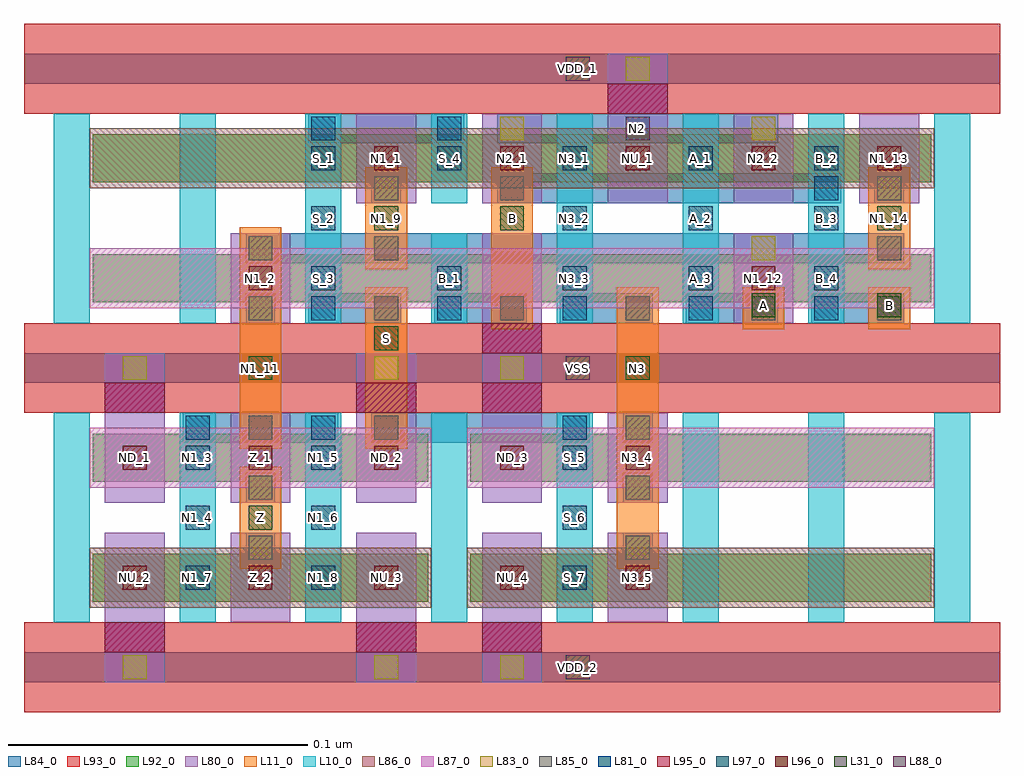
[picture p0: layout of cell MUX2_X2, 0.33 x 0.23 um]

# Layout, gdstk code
import gdstk
lib = gdstk.Library(unit=1e-6, precision=1e-09)
def R(c, l, rs):  # rectangles x0, y0, x1, y1
    for r in rs: c.add(gdstk.rectangle(r[:2], r[2:], *l))
def A(c, l, x, y, w, h, nx, ny, dx, dy):  # array of equal rectangles
    R(c, l, [(x+i*dx, y+j*dy, x+i*dx+w, y+j*dy+h) for i in range(nx) for j in range(ny)])
L10_0 = (10, 0)
L11_0 = (11, 0)
L31_0 = (31, 0)
L80_0 = (80, 0)
L81_0 = (81, 0)
L83_0 = (83, 0)
L84_0 = (84, 0)
L85_0 = (85, 0)
L86_0 = (86, 0)
L87_0 = (87, 0)
L88_0 = (88, 0)
L92_0 = (92, 0)
L93_0 = (93, 0)
L95_0 = (95, 0)
L96_0 = (96, 0)
L97_0 = (97, 0)

mux2_x2 = lib.new_cell('MUX2_X2')
A(mux2_x2, L10_0, -0.027, -0.085, 0.012, 0.07, 8, 1, 0.042, 0)
A(mux2_x2, L10_0, -0.027, 0.015, 0.012, 0.07, 3, 1, 0.042, 0)
A(mux2_x2, L10_0, 0.141, 0.015, 0.012, 0.07, 4, 1, 0.042, 0)
R(mux2_x2, L10_0, [(0.099,0.015,0.111,0.045), (0.099,0.015,0.111,0.045), (0.099,0.055,0.111,0.085)])
R(mux2_x2, L11_0, [(0.035,-0.067,0.049,-0.033), (0.035,-0.067,0.049,-0.033), (0.161,-0.067,0.175,-0.033), (0.161,-0.067,0.175,-0.033), (0.161,-0.047,0.175,-0.013), (0.161,-0.047,0.175,-0.013), (0.035,-0.027,0.049,0.007), (0.035,-0.027,0.049,0.007), (0.077,-0.027,0.091,0.007), (0.077,-0.027,0.091,0.007), (0.161,-0.027,0.175,0.007), (0.161,-0.027,0.175,0.007), (0.035,-0.007,0.049,0.027), (0.035,-0.007,0.049,0.027), (0.077,-0.007,0.091,0.027), (0.077,-0.007,0.091,0.027), (0.161,-0.007,0.175,0.027), (0.161,-0.007,0.175,0.027), (0.035,0.013,0.049,0.047), (0.035,0.013,0.049,0.047), (0.119,0.013,0.133,0.047), (0.119,0.013,0.133,0.047), (0.203,0.013,0.217,0.027), (0.245,0.013,0.259,0.027), (0.077,0.033,0.091,0.067), (0.077,0.033,0.091,0.067), (0.119,0.033,0.133,0.067), (0.119,0.033,0.133,0.067), (0.245,0.033,0.259,0.067), (0.245,0.033,0.259,0.067)])
R(mux2_x2, L31_0, [(0.038,-0.054,0.046,-0.046), (0.038,-0.004,0.046,0.004), (0.164,-0.004,0.172,0.004), (0.08,0.006,0.088,0.014), (0.206,0.017,0.214,0.025), (0.248,0.017,0.256,0.025), (0.08,0.046,0.088,0.054), (0.122,0.046,0.13,0.054), (0.248,0.046,0.256,0.054)])
A(mux2_x2, L80_0, -0.01, -0.085, 0.02, 0.03, 5, 2, 0.042, 0.04)
A(mux2_x2, L80_0, 0.032, 0.015, 0.02, 0.03, 3, 1, 0.084, 0)
A(mux2_x2, L80_0, 0.074, 0.055, 0.02, 0.03, 5, 1, 0.042, 0)
R(mux2_x2, L80_0, [(-0.01,-0.105,0.01,-0.075), (0.074,-0.105,0.094,-0.075), (0.116,-0.105,0.136,-0.075), (-0.01,-0.025,0.01,0.005), (0.074,-0.025,0.094,0.005), (0.116,-0.025,0.136,0.005), (0.116,-0.005,0.136,0.025), (0.158,0.075,0.178,0.105)])
A(mux2_x2, L81_0, 0.143, 0.016, 0.008, 0.008, 3, 1, 0.042, 0)
R(mux2_x2, L81_0, [(0.017,-0.024,0.025,-0.016), (0.017,-0.024,0.025,-0.016), (0.059,-0.024,0.067,-0.016), (0.059,-0.024,0.067,-0.016), (0.143,-0.024,0.151,-0.016), (0.143,-0.024,0.151,-0.016), (0.059,0.016,0.067,0.024), (0.059,0.016,0.067,0.024), (0.101,0.016,0.109,0.024), (0.101,0.016,0.109,0.024), (0.143,0.016,0.151,0.024), (0.227,0.056,0.235,0.064), (0.227,0.056,0.235,0.064), (0.227,0.056,0.235,0.064), (0.227,0.056,0.235,0.064), (0.059,0.076,0.067,0.084), (0.059,0.076,0.067,0.084), (0.059,0.076,0.067,0.084), (0.059,0.076,0.067,0.084), (0.101,0.076,0.109,0.084), (0.101,0.076,0.109,0.084), (0.101,0.076,0.109,0.084), (0.101,0.076,0.109,0.084)])
R(mux2_x2, L83_0, [(-0.004,-0.104,0.004,-0.096), (0.08,-0.104,0.088,-0.096), (0.122,-0.104,0.13,-0.096), (0.038,-0.064,0.046,-0.056), (0.038,-0.064,0.046,-0.056), (0.164,-0.064,0.172,-0.056), (0.164,-0.064,0.172,-0.056), (0.038,-0.044,0.046,-0.036), (0.038,-0.044,0.046,-0.036), (0.164,-0.044,0.172,-0.036), (0.164,-0.044,0.172,-0.036), (0.164,-0.024,0.172,-0.016), (0.164,-0.024,0.172,-0.016), (-0.004,-0.004,0.004,0.004), (0.08,-0.004,0.088,0.004), (0.08,-0.004,0.088,0.004), (0.122,-0.004,0.13,0.004), (0.122,-0.004,0.13,0.004), (0.038,0.016,0.046,0.024), (0.038,0.016,0.046,0.024), (0.038,0.036,0.046,0.044), (0.038,0.036,0.046,0.044), (0.038,0.036,0.046,0.044), (0.038,0.036,0.046,0.044), (0.206,0.036,0.214,0.044), (0.206,0.036,0.214,0.044), (0.206,0.036,0.214,0.044), (0.206,0.036,0.214,0.044), (0.08,0.056,0.088,0.064), (0.08,0.056,0.088,0.064), (0.08,0.056,0.088,0.064), (0.08,0.056,0.088,0.064), (0.248,0.056,0.256,0.064), (0.248,0.056,0.256,0.064), (0.248,0.056,0.256,0.064), (0.248,0.056,0.256,0.064), (0.122,0.076,0.13,0.084), (0.122,0.076,0.13,0.084), (0.122,0.076,0.13,0.084), (0.122,0.076,0.13,0.084), (0.206,0.076,0.214,0.084), (0.206,0.076,0.214,0.084), (0.206,0.076,0.214,0.084), (0.206,0.076,0.214,0.084), (0.164,0.096,0.172,0.104)])
A(mux2_x2, L84_0, -0.037, -0.105, 0.326, 0.01, 1, 3, 0, 0.1)
A(mux2_x2, L84_0, 0.142, 0.015, 0.031, 0.01, 3, 1, 0.042, 0)
R(mux2_x2, L84_0, [(0.037,-0.065,0.047,-0.055), (0.037,-0.065,0.047,-0.055), (0.163,-0.065,0.173,-0.055), (0.163,-0.065,0.173,-0.055), (0.037,-0.045,0.047,-0.035), (0.037,-0.045,0.047,-0.035), (0.163,-0.045,0.173,-0.035), (0.163,-0.045,0.173,-0.035), (0.016,-0.025,0.047,-0.015), (0.016,-0.025,0.047,-0.015), (0.037,-0.025,0.068,-0.015), (0.037,-0.025,0.068,-0.015), (0.079,-0.025,0.11,-0.015), (0.079,-0.025,0.11,-0.015), (0.1,-0.025,0.131,-0.015), (0.1,-0.025,0.131,-0.015), (0.121,-0.025,0.152,-0.015), (0.121,-0.025,0.152,-0.015), (0.163,-0.025,0.173,-0.015), (0.163,-0.025,0.173,-0.015), (0.037,0.015,0.047,0.025), (0.037,0.015,0.047,0.025), (0.058,0.015,0.089,0.025), (0.058,0.015,0.089,0.025), (0.1,0.015,0.131,0.025), (0.1,0.015,0.131,0.025), (0.142,0.015,0.173,0.025), (0.037,0.035,0.068,0.045), (0.037,0.035,0.068,0.045), (0.058,0.035,0.089,0.045), (0.058,0.035,0.089,0.045), (0.079,0.035,0.11,0.045), (0.079,0.035,0.11,0.045), (0.1,0.035,0.131,0.045), (0.1,0.035,0.131,0.045), (0.121,0.035,0.152,0.045), (0.121,0.035,0.152,0.045), (0.142,0.035,0.173,0.045), (0.142,0.035,0.173,0.045), (0.163,0.035,0.194,0.045), (0.163,0.035,0.194,0.045), (0.184,0.035,0.215,0.045), (0.184,0.035,0.215,0.045), (0.205,0.035,0.236,0.045), (0.205,0.035,0.236,0.045), (0.226,0.035,0.257,0.045), (0.226,0.035,0.257,0.045), (0.079,0.055,0.089,0.065), (0.079,0.055,0.089,0.065), (0.121,0.055,0.152,0.065), (0.121,0.055,0.152,0.065), (0.142,0.055,0.173,0.065), (0.142,0.055,0.173,0.065), (0.163,0.055,0.194,0.065), (0.163,0.055,0.194,0.065), (0.184,0.055,0.215,0.065), (0.184,0.055,0.215,0.065), (0.205,0.055,0.236,0.065), (0.205,0.055,0.236,0.065), (0.247,0.055,0.257,0.065), (0.247,0.055,0.257,0.065), (0.058,0.075,0.089,0.085), (0.058,0.075,0.089,0.085), (0.079,0.075,0.11,0.085), (0.079,0.075,0.11,0.085), (0.121,0.075,0.152,0.085), (0.121,0.075,0.152,0.085), (0.142,0.075,0.173,0.085), (0.142,0.075,0.173,0.085), (0.163,0.075,0.194,0.085), (0.163,0.075,0.194,0.085), (0.184,0.075,0.215,0.085), (0.184,0.075,0.215,0.085)])
A(mux2_x2, L85_0, 0.164, 0.016, 0.008, 0.008, 3, 1, 0.042, 0)
R(mux2_x2, L85_0, [(0.038,-0.064,0.046,-0.056), (0.038,-0.064,0.046,-0.056), (0.164,-0.064,0.172,-0.056), (0.164,-0.064,0.172,-0.056), (0.038,-0.044,0.046,-0.036), (0.038,-0.044,0.046,-0.036), (0.164,-0.044,0.172,-0.036), (0.164,-0.044,0.172,-0.036), (0.038,-0.024,0.046,-0.016), (0.038,-0.024,0.046,-0.016), (0.08,-0.024,0.088,-0.016), (0.08,-0.024,0.088,-0.016), (0.164,-0.024,0.172,-0.016), (0.164,-0.024,0.172,-0.016), (0.038,0.016,0.046,0.024), (0.038,0.016,0.046,0.024), (0.08,0.016,0.088,0.024), (0.08,0.016,0.088,0.024), (0.122,0.016,0.13,0.024), (0.122,0.016,0.13,0.024), (0.164,0.016,0.172,0.024), (0.038,0.036,0.046,0.044), (0.038,0.036,0.046,0.044), (0.08,0.036,0.088,0.044), (0.08,0.036,0.088,0.044), (0.248,0.036,0.256,0.044), (0.248,0.036,0.256,0.044), (0.08,0.056,0.088,0.064), (0.08,0.056,0.088,0.064), (0.122,0.056,0.13,0.064), (0.122,0.056,0.13,0.064), (0.248,0.056,0.256,0.064), (0.248,0.056,0.256,0.064)])
R(mux2_x2, L86_0, [(-0.015,-0.08,0.099,-0.06), (0.111,-0.08,0.267,-0.06), (-0.015,0.06,0.267,0.08)])
R(mux2_x2, L87_0, [(-0.015,-0.04,0.099,-0.02), (0.111,-0.04,0.267,-0.02), (-0.015,0.02,0.267,0.04)])
A(mux2_x2, L88_0, 0.144, -0.104, 0.008, 0.008, 1, 3, 0, 0.1)
R(mux2_x2, L88_0, [(0.164,0.076,0.172,0.084)])
R(mux2_x2, L92_0, [(-0.014,-0.078,0.098,-0.062), (0.112,-0.078,0.266,-0.062), (-0.014,-0.038,0.098,-0.022), (0.112,-0.038,0.266,-0.022), (-0.014,0.022,0.266,0.038), (-0.014,0.062,0.266,0.078)])
A(mux2_x2, L93_0, -0.037, -0.115, 0.326, 0.03, 1, 3, 0, 0.1)
R(mux2_x2, L95_0, [(-0.01,-0.095,0.01,-0.085), (0.074,-0.095,0.094,-0.085), (0.116,-0.095,0.136,-0.085), (-0.01,-0.015,0.01,-0.005), (0.074,-0.015,0.094,-0.005), (0.116,-0.015,0.136,-0.005), (0.116,0.005,0.136,0.015), (0.158,0.085,0.178,0.095)])
A(mux2_x2, L96_0, -0.004, -0.074, 0.008, 0.008, 5, 2, 0.042, 0.04)
A(mux2_x2, L96_0, 0.08, 0.066, 0.008, 0.008, 5, 1, 0.042, 0)
R(mux2_x2, L96_0, [(0.038,0.026,0.046,0.034), (0.206,0.026,0.214,0.034)])
A(mux2_x2, L97_0, 0.017, -0.074, 0.008, 0.008, 1, 3, 0, 0.02)
A(mux2_x2, L97_0, 0.059, -0.074, 0.008, 0.008, 1, 3, 0, 0.02)
A(mux2_x2, L97_0, 0.143, -0.074, 0.008, 0.008, 1, 3, 0, 0.02)
A(mux2_x2, L97_0, 0.059, 0.026, 0.008, 0.008, 5, 2, 0.042, 0.04)
A(mux2_x2, L97_0, 0.143, 0.046, 0.008, 0.008, 3, 1, 0.042, 0)
R(mux2_x2, L97_0, [(0.059,0.046,0.067,0.054)])
mux2_x2.add(gdstk.Label('S_3', (0.063,0.03), layer=97, texttype=0))
mux2_x2.add(gdstk.Label('S_2', (0.063,0.05), layer=97, texttype=0))
mux2_x2.add(gdstk.Label('S_1', (0.063,0.07), layer=97, texttype=0))
mux2_x2.add(gdstk.Label('S_4', (0.105,0.07), layer=97, texttype=0))
mux2_x2.add(gdstk.Label('S_6', (0.147,-0.05), layer=97, texttype=0))
mux2_x2.add(gdstk.Label('S_7', (0.147,-0.07), layer=97, texttype=0))
mux2_x2.add(gdstk.Label('S_5', (0.147,-0.03), layer=97, texttype=0))
mux2_x2.add(gdstk.Label('N1_3', (0.021,-0.03), layer=97, texttype=0))
mux2_x2.add(gdstk.Label('N1_4', (0.021,-0.05), layer=97, texttype=0))
mux2_x2.add(gdstk.Label('N1_7', (0.021,-0.07), layer=97, texttype=0))
mux2_x2.add(gdstk.Label('N1_8', (0.063,-0.07), layer=97, texttype=0))
mux2_x2.add(gdstk.Label('N1_6', (0.063,-0.05), layer=97, texttype=0))
mux2_x2.add(gdstk.Label('N1_5', (0.063,-0.03), layer=97, texttype=0))
mux2_x2.add(gdstk.Label('N3_3', (0.147,0.03), layer=97, texttype=0))
mux2_x2.add(gdstk.Label('N3_1', (0.147,0.07), layer=97, texttype=0))
mux2_x2.add(gdstk.Label('N3_2', (0.147,0.05), layer=97, texttype=0))
mux2_x2.add(gdstk.Label('B_1', (0.105,0.03), layer=97, texttype=0))
mux2_x2.add(gdstk.Label('B_4', (0.231,0.03), layer=97, texttype=0))
mux2_x2.add(gdstk.Label('B_3', (0.231,0.05), layer=97, texttype=0))
mux2_x2.add(gdstk.Label('B_2', (0.231,0.07), layer=97, texttype=0))
mux2_x2.add(gdstk.Label('A_3', (0.189,0.03), layer=97, texttype=0))
mux2_x2.add(gdstk.Label('A_2', (0.189,0.05), layer=97, texttype=0))
mux2_x2.add(gdstk.Label('A_1', (0.189,0.07), layer=97, texttype=0))
mux2_x2.add(gdstk.Label('N1_2', (0.042,0.03), layer=96, texttype=0))
mux2_x2.add(gdstk.Label('N1_1', (0.084,0.07), layer=96, texttype=0))
mux2_x2.add(gdstk.Label('N1_12', (0.21,0.03), layer=96, texttype=0))
mux2_x2.add(gdstk.Label('N1_13', (0.252,0.07), layer=96, texttype=0))
mux2_x2.add(gdstk.Label('N2_1', (0.126,0.07), layer=96, texttype=0))
mux2_x2.add(gdstk.Label('N2_2', (0.21,0.07), layer=96, texttype=0))
mux2_x2.add(gdstk.Label('NU_1', (0.168,0.07), layer=96, texttype=0))
mux2_x2.add(gdstk.Label('NU_4', (0.126,-0.07), layer=96, texttype=0))
mux2_x2.add(gdstk.Label('NU_3', (0.084,-0.07), layer=96, texttype=0))
mux2_x2.add(gdstk.Label('NU_2', (0,-0.07), layer=96, texttype=0))
mux2_x2.add(gdstk.Label('ND_3', (0.126,-0.03), layer=96, texttype=0))
mux2_x2.add(gdstk.Label('ND_2', (0.084,-0.03), layer=96, texttype=0))
mux2_x2.add(gdstk.Label('ND_1', (0,-0.03), layer=96, texttype=0))
mux2_x2.add(gdstk.Label('Z_1', (0.042,-0.03), layer=96, texttype=0))
mux2_x2.add(gdstk.Label('Z_2', (0.042,-0.07), layer=96, texttype=0))
mux2_x2.add(gdstk.Label('N3_5', (0.168,-0.07), layer=96, texttype=0))
mux2_x2.add(gdstk.Label('N3_4', (0.168,-0.03), layer=96, texttype=0))
mux2_x2.add(gdstk.Label('N2', (0.168,0.08), layer=88, texttype=0))
mux2_x2.add(gdstk.Label('VDD_2', (0.148,-0.1), layer=88, texttype=0))
mux2_x2.add(gdstk.Label('VSS', (0.148,0), layer=88, texttype=0))
mux2_x2.add(gdstk.Label('VDD_1', (0.148,0.1), layer=88, texttype=0))
mux2_x2.add(gdstk.Label('S', (0.084,0.01), layer=31, texttype=0))
mux2_x2.add(gdstk.Label('N1_9', (0.084,0.05), layer=31, texttype=0))
mux2_x2.add(gdstk.Label('N1_11', (0.042,0), layer=31, texttype=0))
mux2_x2.add(gdstk.Label('B', (0.126,0.05), layer=31, texttype=0))
mux2_x2.add(gdstk.Label('N1_14', (0.252,0.05), layer=31, texttype=0))
mux2_x2.add(gdstk.Label('N3', (0.168,0), layer=31, texttype=0))
mux2_x2.add(gdstk.Label('A', (0.21,0.021), layer=31, texttype=0))
mux2_x2.add(gdstk.Label('B', (0.252,0.021), layer=31, texttype=0))
mux2_x2.add(gdstk.Label('Z', (0.042,-0.05), layer=31, texttype=0))

lib.write_gds('MUX2_X2.gds')
